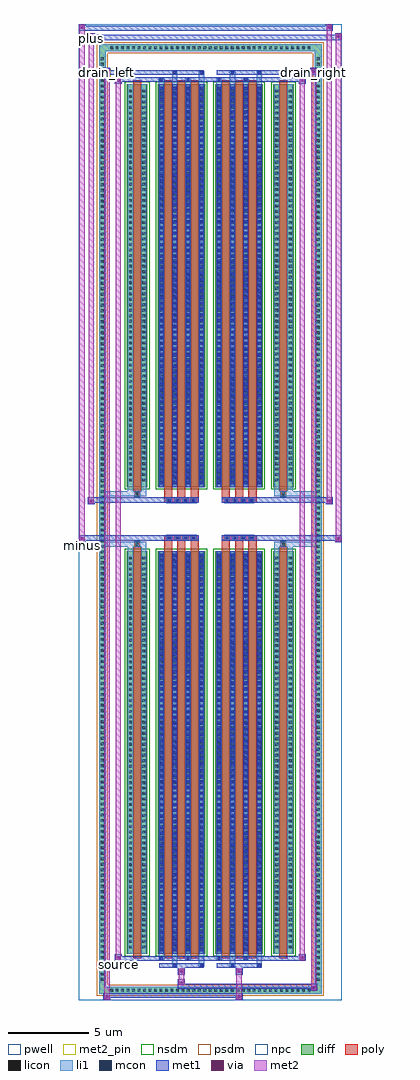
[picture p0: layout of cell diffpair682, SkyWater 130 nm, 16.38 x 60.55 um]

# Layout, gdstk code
import gdstk
lib = gdstk.Library(unit=1e-6, precision=5e-09)
def R(c, l, rs):  # rectangles x0, y0, x1, y1
    for r in rs: c.add(gdstk.rectangle(r[:2], r[2:], *l))
def A(c, l, x, y, w, h, nx, ny, dx, dy):  # array of equal rectangles
    R(c, l, [(x+i*dx, y+j*dy, x+i*dx+w, y+j*dy+h) for i in range(nx) for j in range(ny)])
def P(c, l, *ps):  # polygons
    for p in ps: c.add(gdstk.Polygon(p, *l))
pwell = (64, 44)
diff = (65, 20)
poly = (66, 20)
licon = (66, 44)
li1 = (67, 20)
mcon = (67, 44)
met1 = (68, 20)
via = (68, 44)
met2_pin = (69, 16)
met2 = (69, 20)
nsdm = (93, 44)
psdm = (94, 20)
npc = (95, 20)

diffpair682 = lib.new_cell('diffpair682')
R(diffpair682, pwell, [(-8.17,-29.84,8.17,30.71), (-5.49,-28.03,-0.01,-0.805), (0.01,-28.03,5.49,-0.805), (-5.49,0.805,-0.01,28.03), (0.01,0.805,5.49,28.03)])
A(diffpair682, diff, -6.325, -29.44, 0.41, 0.41, 37, 2, 0.34, 58.47)
A(diffpair682, diff, -6.9, -28.765, 0.41, 0.41, 1, 169, 0, 0.34)
A(diffpair682, diff, 6.49, -28.765, 0.41, 0.41, 1, 169, 0, 0.34)
R(diffpair682, diff, [(-6.325,-29.44,6.325,-29.03), (-6.9,-28.765,-6.49,28.765), (6.49,-28.765,6.9,28.765), (-5.18,-26.985,-3.9,-1.985), (-3.26,-26.985,-0.32,-1.985), (0.32,-26.985,3.26,-1.985), (3.9,-26.985,5.18,-1.985), (-5.18,1.985,-3.9,26.985), (-3.26,1.985,-0.32,26.985), (0.32,1.985,3.26,26.985), (3.9,1.985,5.18,26.985), (-6.325,29.03,6.325,29.44)])
P(diffpair682, diff, [(6.9,29.44),(-6.9,29.44),(-6.9,-29.03),(-6.49,-29.03),(-6.49,29.03),(6.49,29.03),(6.49,-29.03),(-6.49,-29.03),(-6.9,-29.03),(-6.9,-29.44),(6.9,-29.44)])
A(diffpair682, poly, -2.87, -27.235, 0.5, 25.5, 3, 2, 0.83, 28.97)
A(diffpair682, poly, 0.71, -27.235, 0.5, 25.5, 3, 2, 0.83, 28.97)
A(diffpair682, poly, -2.87, -1.735, 0.5, 0.4, 3, 2, 0.83, 3.07)
A(diffpair682, poly, 0.71, -1.735, 0.5, 0.4, 3, 2, 0.83, 3.07)
A(diffpair682, poly, -2.705, -1.335, 0.33, 0.33, 4, 2, 0.5, 2.34)
A(diffpair682, poly, 0.875, -1.335, 0.33, 0.33, 4, 2, 0.5, 2.34)
R(diffpair682, poly, [(-4.79,-27.235,-4.29,-1.735), (4.29,-27.235,4.79,-1.735), (-4.705,-1.735,-4.375,-1.405), (-4.705,-1.735,-4.375,-1.405), (4.375,-1.735,4.705,-1.405), (4.375,-1.735,4.705,-1.405), (-2.87,-1.335,-0.71,-1.005), (0.71,-1.335,2.87,-1.005), (-2.87,1.005,-0.71,1.335), (0.71,1.005,2.87,1.335), (-4.705,1.405,-4.375,1.735), (-4.705,1.405,-4.375,1.735), (4.375,1.405,4.705,1.735), (4.375,1.405,4.705,1.735), (-4.79,1.735,-4.29,27.235), (4.29,1.735,4.79,27.235)])
A(diffpair682, licon, -6.205, -29.32, 0.17, 0.17, 37, 2, 0.34, 58.47)
A(diffpair682, licon, -6.78, -28.645, 0.17, 0.17, 1, 169, 0, 0.34)
A(diffpair682, licon, 6.61, -28.645, 0.17, 0.17, 1, 169, 0, 0.34)
A(diffpair682, licon, -5.04, -26.64, 0.17, 0.17, 1, 72, 0, 0.34)
A(diffpair682, licon, -4.21, -26.64, 0.17, 0.17, 1, 72, 0, 0.34)
A(diffpair682, licon, -3.12, -26.64, 0.17, 0.17, 4, 72, 0.83, 0.34)
A(diffpair682, licon, 0.46, -26.64, 0.17, 0.17, 4, 72, 0.83, 0.34)
A(diffpair682, licon, 4.04, -26.64, 0.17, 0.17, 1, 72, 0, 0.34)
A(diffpair682, licon, 4.87, -26.64, 0.17, 0.17, 1, 72, 0, 0.34)
A(diffpair682, licon, -2.625, -1.255, 0.17, 0.17, 4, 2, 0.5, 2.34)
A(diffpair682, licon, 0.955, -1.255, 0.17, 0.17, 4, 2, 0.5, 2.34)
A(diffpair682, licon, -5.04, 2.33, 0.17, 0.17, 1, 72, 0, 0.34)
A(diffpair682, licon, -4.21, 2.33, 0.17, 0.17, 1, 72, 0, 0.34)
A(diffpair682, licon, -3.12, 2.33, 0.17, 0.17, 4, 72, 0.83, 0.34)
A(diffpair682, licon, 0.46, 2.33, 0.17, 0.17, 4, 72, 0.83, 0.34)
A(diffpair682, licon, 4.04, 2.33, 0.17, 0.17, 1, 72, 0, 0.34)
A(diffpair682, licon, 4.87, 2.33, 0.17, 0.17, 1, 72, 0, 0.34)
R(diffpair682, licon, [(-4.625,-1.655,-4.455,-1.485), (4.455,-1.655,4.625,-1.485), (-4.625,1.485,-4.455,1.655), (4.455,1.485,4.625,1.655)])
A(diffpair682, li1, -6.285, -29.4, 0.33, 0.33, 37, 2, 0.34, 58.47)
A(diffpair682, li1, -6.86, -28.725, 0.33, 0.33, 1, 169, 0, 0.34)
A(diffpair682, li1, 6.53, -28.725, 0.33, 0.33, 1, 169, 0, 0.34)
A(diffpair682, li1, -3.2, -26.985, 0.33, 25, 4, 2, 0.83, 28.97)
A(diffpair682, li1, 0.38, -26.985, 0.33, 25, 4, 2, 0.83, 28.97)
A(diffpair682, li1, -3.12, -26.81, 0.17, 0.17, 4, 69, 0.83, 0.36)
A(diffpair682, li1, -3.12, -26.81, 0.17, 24.65, 4, 2, 0.83, 28.97)
A(diffpair682, li1, 0.46, -26.81, 0.17, 0.17, 4, 69, 0.83, 0.36)
A(diffpair682, li1, 0.46, -26.81, 0.17, 24.65, 4, 2, 0.83, 28.97)
A(diffpair682, li1, -5.12, -26.72, 0.33, 0.33, 1, 72, 0, 0.34)
A(diffpair682, li1, -4.29, -26.72, 0.33, 0.33, 1, 72, 0, 0.34)
A(diffpair682, li1, -3.2, -26.72, 0.33, 0.33, 4, 72, 0.83, 0.34)
A(diffpair682, li1, 0.38, -26.72, 0.33, 0.33, 4, 72, 0.83, 0.34)
A(diffpair682, li1, 3.96, -26.72, 0.33, 0.33, 1, 72, 0, 0.34)
A(diffpair682, li1, 4.79, -26.72, 0.33, 0.33, 1, 72, 0, 0.34)
A(diffpair682, li1, -2.705, -1.335, 0.33, 0.33, 4, 2, 0.5, 2.34)
A(diffpair682, li1, 0.875, -1.335, 0.33, 0.33, 4, 2, 0.5, 2.34)
A(diffpair682, li1, -3.12, 2.16, 0.17, 0.17, 4, 69, 0.83, 0.36)
A(diffpair682, li1, 0.46, 2.16, 0.17, 0.17, 4, 69, 0.83, 0.36)
A(diffpair682, li1, -5.12, 2.25, 0.33, 0.33, 1, 72, 0, 0.34)
A(diffpair682, li1, -4.29, 2.25, 0.33, 0.33, 1, 72, 0, 0.34)
A(diffpair682, li1, -3.2, 2.25, 0.33, 0.33, 4, 72, 0.83, 0.34)
A(diffpair682, li1, 0.38, 2.25, 0.33, 0.33, 4, 72, 0.83, 0.34)
A(diffpair682, li1, 3.96, 2.25, 0.33, 0.33, 1, 72, 0, 0.34)
A(diffpair682, li1, 4.79, 2.25, 0.33, 0.33, 1, 72, 0, 0.34)
R(diffpair682, li1, [(-6.9,-29.44,-6.49,-29.03), (-6.9,-29.44,-6.49,-29.03), (-6.49,-29.44,6.49,-29.03), (6.49,-29.44,6.9,-29.03), (6.49,-29.44,6.9,-29.03), (-6.9,-29.03,-6.49,29.03), (6.49,-29.03,6.9,29.03), (-2.37,-27.79,-2.04,-26.985), (-2.29,-27.79,-2.12,-27.62), (-0.71,-27.79,-0.38,-26.985), (-0.63,-27.79,-0.46,-27.62), (1.21,-27.79,1.54,-26.985), (1.29,-27.79,1.46,-27.62), (2.87,-27.79,3.2,-26.985), (2.95,-27.79,3.12,-27.62), (-3.2,-27.36,-2.87,-26.985), (-3.12,-27.36,-2.95,-27.19), (-1.54,-27.36,-1.21,-26.985), (-1.46,-27.36,-1.29,-27.19), (0.38,-27.36,0.71,-26.985), (0.46,-27.36,0.63,-27.19), (2.04,-27.36,2.37,-26.985), (2.12,-27.36,2.29,-27.19), (-5.12,-26.985,-4.79,-1.985), (-4.29,-26.985,-3.96,-1.985), (3.96,-26.985,4.29,-1.985), (4.79,-26.985,5.12,-1.985), (-5.12,-1.985,-4.79,-1.405), (-4.29,-1.985,-3.96,-1.405), (3.96,-1.985,4.29,-1.405), (4.79,-1.985,5.12,-1.405), (-6.9,-1.735,-4.705,-1.405), (-5.12,-1.735,-4.705,-1.405), (-4.705,-1.735,-4.375,-1.405), (-4.375,-1.735,-3.96,-1.405), (3.96,-1.735,4.375,-1.405), (4.375,-1.735,4.705,-1.405), (4.375,-1.735,6.9,-1.405), (4.705,-1.735,5.12,-1.405), (-6.9,1.405,-4.705,1.735), (-5.12,1.405,-4.705,1.735), (-5.12,1.405,-4.79,1.985), (-4.705,1.405,-4.375,1.735), (-4.375,1.405,-3.96,1.735), (-4.29,1.405,-3.96,1.985), (3.96,1.405,4.375,1.735), (3.96,1.405,4.29,1.985), (4.375,1.405,4.705,1.735), (4.375,1.405,6.9,1.735), (4.705,1.405,5.12,1.735), (4.79,1.405,5.12,1.985), (-5.12,1.985,-4.79,26.985), (-4.29,1.985,-3.96,26.985), (3.96,1.985,4.29,26.985), (4.79,1.985,5.12,26.985), (-3.2,26.985,-2.87,27.36), (-2.37,26.985,-2.04,27.79), (-1.54,26.985,-1.21,27.36), (-0.71,26.985,-0.38,27.79), (0.38,26.985,0.71,27.36), (1.21,26.985,1.54,27.79), (2.04,26.985,2.37,27.36), (2.87,26.985,3.2,27.79), (-3.12,27.19,-2.95,27.36), (-1.46,27.19,-1.29,27.36), (0.46,27.19,0.63,27.36), (2.12,27.19,2.29,27.36), (-2.29,27.62,-2.12,27.79), (-0.63,27.62,-0.46,27.79), (1.29,27.62,1.46,27.79), (2.95,27.62,3.12,27.79), (-6.9,29.03,-6.49,29.44), (-6.9,29.03,-6.49,29.44), (-6.49,29.03,6.49,29.44), (6.49,29.03,6.9,29.44), (6.49,29.03,6.9,29.44)])
A(diffpair682, mcon, -3.12, -26.81, 0.17, 0.17, 4, 69, 0.83, 0.36)
A(diffpair682, mcon, 0.46, -26.81, 0.17, 0.17, 4, 69, 0.83, 0.36)
A(diffpair682, mcon, -2.625, -1.255, 0.17, 0.17, 4, 2, 0.5, 2.34)
A(diffpair682, mcon, 0.955, -1.255, 0.17, 0.17, 4, 2, 0.5, 2.34)
A(diffpair682, mcon, -3.12, 2.16, 0.17, 0.17, 4, 69, 0.83, 0.36)
A(diffpair682, mcon, 0.46, 2.16, 0.17, 0.17, 4, 69, 0.83, 0.36)
R(diffpair682, mcon, [(-2.29,-27.79,-2.12,-27.62), (-0.63,-27.79,-0.46,-27.62), (1.29,-27.79,1.46,-27.62), (2.95,-27.79,3.12,-27.62), (-3.12,-27.36,-2.95,-27.19), (-1.46,-27.36,-1.29,-27.19), (0.46,-27.36,0.63,-27.19), (2.12,-27.36,2.29,-27.19), (-3.12,27.19,-2.95,27.36), (-1.46,27.19,-1.29,27.36), (0.46,27.19,0.63,27.36), (2.12,27.19,2.29,27.36), (-2.29,27.62,-2.12,27.79), (-0.63,27.62,-0.46,27.79), (1.29,27.62,1.46,27.79), (2.95,27.62,3.12,27.79)])
A(diffpair682, met1, -3.18, -26.985, 0.29, 25, 4, 2, 0.83, 28.97)
A(diffpair682, met1, 0.4, -26.985, 0.29, 25, 4, 2, 0.83, 28.97)
A(diffpair682, met1, -3.18, -26.87, 0.29, 0.29, 4, 69, 0.83, 0.36)
A(diffpair682, met1, 0.4, -26.87, 0.29, 0.29, 4, 69, 0.83, 0.36)
A(diffpair682, met1, -2.685, -1.315, 0.29, 0.29, 4, 2, 0.5, 2.34)
A(diffpair682, met1, 0.895, -1.315, 0.29, 0.29, 4, 2, 0.5, 2.34)
A(diffpair682, met1, -3.18, 2.1, 0.29, 0.29, 4, 69, 0.83, 0.36)
A(diffpair682, met1, 0.4, 2.1, 0.29, 0.29, 4, 69, 0.83, 0.36)
R(diffpair682, met1, [(-6.63,-29.84,-6.2,-29.41), (1.575,-29.84,2.005,-29.41), (-6.63,-29.7,2.005,-29.41), (6.2,-29.27,6.63,-28.84), (-2.005,-29.13,6.63,-28.84), (-2.005,-28.99,-1.575,-28.56), (-2.005,-28.28,-1.575,-27.85), (1.575,-28.28,2.005,-27.85), (-3.18,-27.85,-0.4,-27.56), (-2.35,-27.85,-2.06,-27.56), (-0.69,-27.85,-0.4,-27.56), (0.4,-27.85,3.18,-27.56), (1.23,-27.85,1.52,-27.56), (2.89,-27.85,3.18,-27.56), (-5.92,-27.42,-5.49,-26.99), (-5.92,-27.42,-3.18,-27.13), (-3.18,-27.42,-2.89,-27.13), (-3.18,-27.42,-0.4,-27.13), (-1.52,-27.42,-1.23,-27.13), (-0.4,-27.42,0.4,-27.13), (0.4,-27.42,0.69,-27.13), (0.4,-27.42,3.18,-27.13), (2.06,-27.42,2.35,-27.13), (3.18,-27.42,5.92,-27.13), (5.49,-27.42,5.92,-26.99), (-8.17,-1.435,-7.74,-1.005), (7.74,-1.435,8.17,-1.005), (-8.17,-1.335,-0.71,-1.005), (-2.87,-1.335,-0.71,-1.005), (0.71,-1.335,2.87,-1.005), (0.71,-1.335,8.17,-1.005), (-7.6,0.905,-7.17,1.335), (7.17,0.905,7.6,1.335), (-7.6,1.005,-2.87,1.335), (-2.87,1.005,-0.71,1.335), (0.71,1.005,2.87,1.335), (2.87,1.005,7.6,1.335), (-5.92,26.99,-5.49,27.42), (5.49,26.99,5.92,27.42), (-5.92,27.13,-3.18,27.42), (-3.18,27.13,-2.89,27.42), (-3.18,27.13,-0.4,27.42), (-1.52,27.13,-1.23,27.42), (-0.4,27.13,0.4,27.42), (0.4,27.13,0.69,27.42), (0.4,27.13,3.18,27.42), (2.06,27.13,2.35,27.42), (3.18,27.13,5.92,27.42), (-6.63,27.56,-6.2,27.99), (-6.63,27.56,-3.18,27.85), (-3.18,27.56,-0.4,27.85), (-2.35,27.56,-2.06,27.85), (-0.69,27.56,-0.4,27.85), (0.4,27.56,3.18,27.85), (1.23,27.56,1.52,27.85), (2.89,27.56,3.18,27.85), (3.18,27.56,6.63,27.85), (6.2,27.56,6.63,27.99), (-7.6,29.71,-7.17,30.14), (-7.6,29.71,-5.49,30.04), (-5.49,29.71,5.49,30.04), (5.49,29.71,8.17,30.04), (7.74,29.71,8.17,30.14), (-8.17,30.28,-7.74,30.71), (-8.17,30.28,-5.49,30.61), (-5.49,30.28,5.49,30.61), (5.49,30.28,7.6,30.61), (7.17,30.28,7.6,30.71)])
R(diffpair682, via, [(-6.49,-29.7,-6.34,-29.55), (1.715,-29.7,1.865,-29.55), (6.34,-29.13,6.49,-28.98), (-1.865,-28.85,-1.715,-28.7), (-1.865,-28.14,-1.715,-27.99), (1.715,-28.14,1.865,-27.99), (-5.78,-27.28,-5.63,-27.13), (5.63,-27.28,5.78,-27.13), (-8.03,-1.295,-7.88,-1.145), (7.88,-1.295,8.03,-1.145), (-7.46,1.045,-7.31,1.195), (7.31,1.045,7.46,1.195), (-5.78,27.13,-5.63,27.28), (5.63,27.13,5.78,27.28), (-6.49,27.7,-6.34,27.85), (6.34,27.7,6.49,27.85), (-7.46,29.85,-7.31,30), (7.88,29.85,8.03,30), (-8.03,30.42,-7.88,30.57), (7.31,30.42,7.46,30.57)])
R(diffpair682, met2_pin, [(-5.955,-27.87,-5.455,-27.37), (-8.205,-1.885,-7.705,-1.385), (-6.665,27.44,-6.165,27.94), (6.165,27.44,6.665,27.94), (-7.635,29.59,-7.135,30.09)])
R(diffpair682, met2, [(-6.58,-29.79,-6.25,-29.46), (-6.58,-29.79,-6.25,27.94), (1.625,-29.79,1.955,-29.46), (1.625,-29.46,1.955,-28.23), (6.25,-29.22,6.58,-28.89), (6.25,-29.22,6.58,27.94), (-1.955,-28.94,-1.625,-28.61), (-1.955,-28.61,-1.625,-28.23), (-1.955,-28.23,-1.625,-27.9), (1.625,-28.23,1.955,-27.9), (-5.87,-27.37,-5.54,-27.04), (-5.87,-27.37,-5.54,27.37), (5.54,-27.37,5.87,-27.04), (5.54,-27.37,5.87,27.37), (-8.12,-1.385,-7.79,-1.055), (-8.12,-1.385,-7.79,30.66), (7.79,-1.385,8.12,-1.055), (7.79,-1.385,8.12,30.09), (-7.55,0.955,-7.22,1.285), (-7.55,0.955,-7.22,30.09), (7.22,0.955,7.55,1.285), (7.22,0.955,7.55,30.66), (-5.87,27.04,-5.54,27.37), (5.54,27.04,5.87,27.37), (-6.58,27.61,-6.25,27.94), (6.25,27.61,6.58,27.94), (-7.55,29.76,-7.22,30.09), (7.79,29.76,8.12,30.09), (-8.12,30.33,-7.79,30.66), (7.22,30.33,7.55,30.66)])
P(diffpair682, met2, [(8.12,-1.385),(8.12,-1.385),(8.12,-1.055),(8.12,-1.055)],
  [(8.12,29.76),(8.12,29.76),(8.12,30.09),(8.12,30.09)],
  [(-7.79,-1.385),(-7.79,-1.385),(-7.79,-1.055),(-7.79,-1.055)],
  [(-7.79,30.33),(-7.79,30.33),(-7.79,30.66),(-7.79,30.66)],
  [(7.55,0.955),(7.55,0.955),(7.55,1.285),(7.55,1.285)],
  [(7.55,30.33),(7.55,30.33),(7.55,30.66),(7.55,30.66)],
  [(-7.22,0.955),(-7.22,0.955),(-7.22,1.285),(-7.22,1.285)],
  [(-7.22,29.76),(-7.22,29.76),(-7.22,30.09),(-7.22,30.09)],
  [(-6.25,-29.79),(-6.25,-29.79),(-6.25,-29.46),(-6.25,-29.46)],
  [(-6.25,27.61),(-6.25,27.61),(-6.25,27.94),(-6.25,27.94)],
  [(6.58,-29.22),(6.58,-29.22),(6.58,-28.89),(6.58,-28.89)],
  [(6.58,27.61),(6.58,27.61),(6.58,27.94),(6.58,27.94)],
  [(-5.54,-27.37),(-5.54,-27.37),(-5.54,-27.04),(-5.54,-27.04)],
  [(-5.54,27.04),(-5.54,27.04),(-5.54,27.37),(-5.54,27.37)],
  [(5.87,-27.37),(5.87,-27.37),(5.87,-27.04),(5.87,-27.04)],
  [(5.87,27.04),(5.87,27.04),(5.87,27.37),(5.87,27.37)])
R(diffpair682, nsdm, [(-5.31,-27.115,-3.77,-1.855), (-3.39,-27.115,-0.19,-1.855), (0.19,-27.115,3.39,-1.855), (3.77,-27.115,5.31,-1.855), (-5.31,1.855,-3.77,27.115), (-3.39,1.855,-0.19,27.115), (0.19,1.855,3.39,27.115), (3.77,1.855,5.31,27.115)])
P(diffpair682, psdm, [(7.03,29.57),(-7.03,29.57),(-7.03,-28.9),(-6.36,-28.9),(-6.36,28.9),(6.36,28.9),(6.36,-28.9),(-6.36,-28.9),(-7.03,-28.9),(-7.03,-29.57),(7.03,-29.57)])
A(diffpair682, npc, -2.725, -1.355, 0.37, 0.37, 4, 2, 0.5, 2.34)
A(diffpair682, npc, 0.855, -1.355, 0.37, 0.37, 4, 2, 0.5, 2.34)
R(diffpair682, npc, [(-4.725,-1.755,-4.355,-1.385), (4.355,-1.755,4.725,-1.385), (-2.725,-1.355,-1.855,-0.985), (-2.725,-1.355,-1.855,-0.985), (-2.225,-1.355,-1.355,-0.985), (-2.225,-1.355,-1.355,-0.985), (-1.725,-1.355,-0.855,-0.985), (-1.725,-1.355,-0.855,-0.985), (0.855,-1.355,1.725,-0.985), (0.855,-1.355,1.725,-0.985), (1.355,-1.355,2.225,-0.985), (1.355,-1.355,2.225,-0.985), (1.855,-1.355,2.725,-0.985), (1.855,-1.355,2.725,-0.985), (-2.725,0.985,-1.855,1.355), (-2.725,0.985,-1.855,1.355), (-2.225,0.985,-1.355,1.355), (-2.225,0.985,-1.355,1.355), (-1.725,0.985,-0.855,1.355), (-1.725,0.985,-0.855,1.355), (0.855,0.985,1.725,1.355), (0.855,0.985,1.725,1.355), (1.355,0.985,2.225,1.355), (1.355,0.985,2.225,1.355), (1.855,0.985,2.725,1.355), (1.855,0.985,2.725,1.355), (-4.725,1.385,-4.355,1.755), (4.355,1.385,4.725,1.755)])
diffpair682.add(gdstk.Label('minus', (-7.955,-1.635), layer=69, texttype=5))
diffpair682.add(gdstk.Label('drain_right', (6.415,27.69), layer=69, texttype=5))
diffpair682.add(gdstk.Label('drain_left', (-6.415,27.69), layer=69, texttype=5))
diffpair682.add(gdstk.Label('source', (-5.705,-27.62), layer=69, texttype=5))
diffpair682.add(gdstk.Label('plus', (-7.385,29.84), layer=69, texttype=5))

lib.write_gds('diffpair682.gds')
